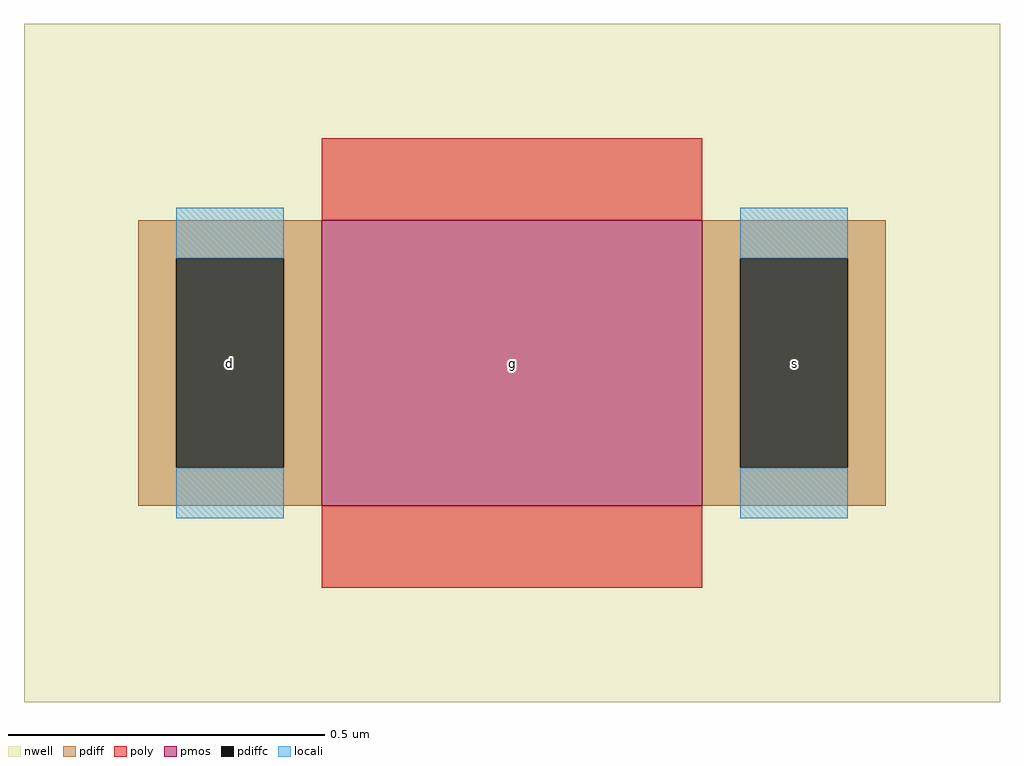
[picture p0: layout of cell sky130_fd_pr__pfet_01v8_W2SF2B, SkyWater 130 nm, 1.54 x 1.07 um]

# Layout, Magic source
magic
tech sky130A
magscale 1 2
<< nwell >>
rect -154 -107 154 107
<< pmos >>
rect -60 -45 60 45
<< pdiff >>
rect -118 33 -60 45
rect -118 -33 -106 33
rect -72 -33 -60 33
rect -118 -45 -60 -33
rect 60 33 118 45
rect 60 -33 72 33
rect 106 -33 118 33
rect 60 -45 118 -33
<< pdiffc >>
rect -106 -33 -72 33
rect 72 -33 106 33
<< poly >>
rect -60 45 60 71
rect -60 -71 60 -45
<< locali >>
rect -106 33 -72 49
rect -106 -49 -72 -33
rect 72 33 106 49
rect 72 -49 106 -33
<< labels >>
flabel pdiffc -89 0 -89 0 0 FreeSans 80 0 0 0 d
flabel pdiffc 89 0 89 0 0 FreeSans 80 0 0 0 s
flabel pmos -60 -45 60 45 0 FreeSans 80 0 0 0 g
<< properties >>
string gencell sky130_fd_pr__pfet_01v8
string library sky130
string parameters w 0.45 l 0.6 m 1 nf 1 diffcov 100 polycov 100 guard 0 glc 0 grc 0 gtc 0 gbc 0 tbcov 100 rlcov 100 topc 0 botc 0 poverlap 0 doverlap 1 lmin 0.15 wmin 0.42 compatible {sky130_fd_pr__pfet_01v8  sky130_fd_pr__pfet_01v8_lvt sky130_fd_pr__pfet_01v8_hvt  sky130_fd_pr__pfet_g5v0d10v5} full_metal 1 viasrc 100 viadrn 100 viagate 100 viagb 0 viagr 0 viagl 0 viagt 0
<< end >>
